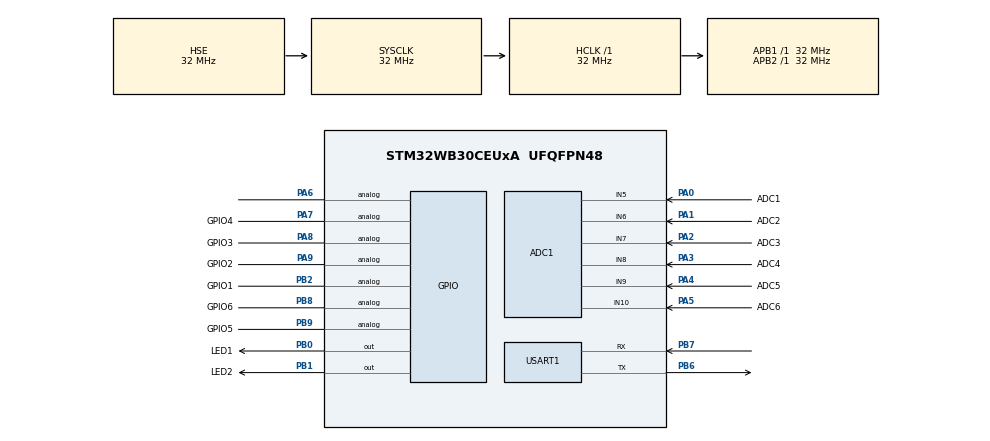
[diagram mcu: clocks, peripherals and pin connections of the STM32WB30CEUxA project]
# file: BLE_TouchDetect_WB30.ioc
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Mcu.Family=STM32WB
RCC.CortexFreq_Value=32000000
Dma.ADC1.1.MemDataAlignment=DMA_MDATAALIGN_HALFWORD
RF1.Signal=RF_RF1
Dma.USART1_TX.0.RequestNumber=1
Dma.USART1_TX.0.SignalID=NONE
Dma.ADC1.1.SyncEnable=DISABLE
ADC1.OffsetNumber-4\#ChannelRegularConversion=ADC_OFFSET_NONE
PA0.GPIO_Label=ADC1
VP_RTC_VS_RTC_Activate.Mode=RTC_Enabled
PB0.GPIO_Label=LED1
RCC.SYSCLKSource=RCC_SYSCLKSOURCE_HSE
ProjectManager.StackSize=0x400
Dma.USART1_TX.0.Priority=DMA_PRIORITY_LOW
Dma.USART1_TX.0.Direction=DMA_MEMORY_TO_PERIPH
Dma.USART1_TX.0.SyncPolarity=HAL_DMAMUX_SYNC_NO_EVENT
ADC1.Channel-5\#ChannelRegularConversion=ADC_CHANNEL_10
Dma.ADC1.1.Instance=DMA1_Channel2
Dma.ADC1.1.SyncPolarity=HAL_DMAMUX_SYNC_NO_EVENT
ADC1.Channel-3\#ChannelRegularConversion=ADC_CHANNEL_8
RCC.HCLKFreq_Value=32000000
STM32_WPAN.LOCAL_NAME=PWRON1
RCC.APB2TimFreq_Value=32000000
PB6.Signal=USART1_TX
ADC1.Channel-2\#ChannelRegularConversion=ADC_CHANNEL_7
Dma.ADC1.1.PeriphDataAlignment=DMA_PDATAALIGN_HALFWORD
PB6.Mode=Asynchronous
OSC_OUT.Mode=HSE-External-Oscillator
OSC_OUT.Signal=RCC_OSC_OUT
RCC.AHBFreq_Value=32000000
ADC1.Channel-0\#ChannelRegularConversion=ADC_CHANNEL_5
RCC.HSE_VALUE=32000000
NVIC.IPCC_C1_RX_IRQn=true\:0\:0\:false\:false\:true\:true\:true
PB2.Signal=GPIO_Analog
RCC.RTCClockSelection=RCC_RTCCLKSOURCE_LSE
ADC1.SamplingTime-4\#ChannelRegularConversion=ADC_SAMPLETIME_24CYCLES_5
ADC1.Rank-2\#ChannelRegularConversion=3
PC14-OSC32_IN.Mode=LSE-External-Oscillator
PA14.Mode=Serial_Wire
PB1.GPIO_Label=LED2
NVIC.TIM2_IRQn=true\:0\:0\:false\:false\:true\:true\:true
Dma.ADC1.1.Priority=DMA_PRIORITY_LOW
SH.ADCx_IN8.0=ADC1_IN8,IN8-Single-Ended
Dma.USART1_TX.0.SyncRequestNumber=1
PB7.Signal=USART1_RX
Dma.ADC1.1.Mode=DMA_CIRCULAR
PA8.Signal=GPIO_Analog
Dma.USART1_TX.0.PeriphDataAlignment=DMA_PDATAALIGN_BYTE
ADC1.SamplingTime-0\#ChannelRegularConversion=ADC_SAMPLETIME_24CYCLES_5
PA0.Signal=ADCx_IN5
STM32_WPAN.CFG_USE_SMPS=0
RCC.APB3Freq_Value=16000000
ADC1.OffsetNumber-5\#ChannelRegularConversion=ADC_OFFSET_NONE
NVIC.HSEM_IRQn=true\:0\:0\:false\:false\:true\:false\:true
Mcu.Package=UFQFPN48
PB9.Signal=GPIO_Analog
TIM2.Prescaler=3199
PB1.Signal=GPIO_Output
PA6.Signal=GPIO_Analog
Dma.ADC1.1.Direction=DMA_PERIPH_TO_MEMORY
PB6.GPIO_FM6=__NULL
PA2.GPIO_Label=ADC3
Dma.ADC1.1.MemInc=DMA_MINC_ENABLE
ADC1.OffsetNumber-1\#ChannelRegularConversion=ADC_OFFSET_NONE
Dma.USART1_TX.0.Instance=DMA1_Channel1
SH.ADCx_IN9.0=ADC1_IN9,IN9-Single-Ended
VP_TINY_LPM_VS_TINY_LPM.Mode=TINY_LPM_Enabled
VP_HSEM_VS_HSEM.Mode=HSEM_Activate
Dma.Request1=ADC1
RCC.APB1TimFreq_Value=32000000
Dma.USART1_TX.0.EventEnable=DISABLE
NVIC.USART1_IRQn=true\:0\:0\:false\:false\:true\:true\:true
Dma.Request0=USART1_TX
PA4.GPIO_Label=ADC5
RCC.MSIClockRange=RCC_MSIRANGE_10
RCC.HSI48_VALUE=48000000
ADC1.Rank-4\#ChannelRegularConversion=5
Dma.ADC1.1.SignalID=NONE
PA3.Signal=ADCx_IN8
PB7.GPIO_Speed=GPIO_SPEED_FREQ_VERY_HIGH
PB7.GPIO_PuPd=GPIO_PULLUP
Dma.USART1_TX.0.SyncSignalID=NONE
PC15-OSC32_OUT.Mode=LSE-External-Oscillator
ADC1.Rank-0\#ChannelRegularConversion=1
Dma.USART1_TX.0.MemInc=DMA_MINC_ENABLE
PB9.GPIO_Label=GPIO5
ADC1.Channel-4\#ChannelRegularConversion=ADC_CHANNEL_9
Dma.USART1_TX.0.PeriphInc=DMA_PINC_DISABLE
VP_STM32_WPAN_VS_BLE_HOST.Mode=STM32_WPAN_Enabled
SH.ADCx_IN6.0=ADC1_IN6,IN6-Single-Ended
Dma.ADC1.1.SyncSignalID=NONE
ADC1.OffsetNumber-0\#ChannelRegularConversion=ADC_OFFSET_NONE
PA9.GPIO_Label=GPIO2
Dma.ADC1.1.RequestNumber=1
PB6.GPIO_PuPd=GPIO_PULLUP
ADC1.OffsetNumber-3\#ChannelRegularConversion=ADC_OFFSET_NONE
NVIC.IPCC_C1_TX_IRQn=true\:0\:0\:false\:false\:true\:true\:true
Dma.USART1_TX.0.Polarity=HAL_DMAMUX_REQ_GEN_RISING
PC14-OSC32_IN.Signal=RCC_OSC32_IN
ADC1.SamplingTime-2\#ChannelRegularConversion=ADC_SAMPLETIME_24CYCLES_5
USART1.VirtualMode-Asynchronous=VM_ASYNC
PA13.Signal=SYS_JTMS-SWDIO
PB8.GPIO_Label=GPIO6
PA8.GPIO_Label=GPIO3
NVIC.DMA1_Channel2_IRQn=true\:0\:0\:false\:false\:true\:false\:true
ProjectManager.TargetToolchain=STM32CubeIDE
SH.ADCx_IN7.0=ADC1_IN7,IN7-Single-Ended
STM32_WPAN.LOCAL_NAME_FORMATTED=,'P','W','R','O','N','1'
Dma.USART1_TX.0.SyncEnable=DISABLE
PA9.Signal=GPIO_Analog
ADC1.Channel-1\#ChannelRegularConversion=ADC_CHANNEL_6
STM32_WPAN.CFG_ADV_BD_ADDRESS=0x7257acd87a6c
OSC_IN.Signal=RCC_OSC_IN
Dma.ADC1.1.Polarity=HAL_DMAMUX_REQ_GEN_RISING
PC15-OSC32_OUT.Signal=RCC_OSC32_OUT
PA1.Signal=ADCx_IN6
Dma.ADC1.1.SyncRequestNumber=1
PA5.Signal=ADCx_IN10
Dma.USART1_TX.0.Mode=DMA_NORMAL
board=custom
VP_SEQUENCER_VS_SEQUENCER.Mode=SEQUENCER_Enabled
RCC.VCOOutputFreq_Value=256000000
RCC.APB2Freq_Value=32000000
VP_TIM2_VS_ClockSourceINT.Mode=Internal
RCC.ADCFreq_Value=32000000
PA1.GPIO_Label=ADC2
Dma.ADC1.1.PeriphInc=DMA_PINC_DISABLE
ADC1.DMAContinuousRequests=ENABLE
TIM2.Period=999
ADC1.NbrOfConversion=6
PA13.Mode=Serial_Wire
ADC1.OffsetNumber-2\#ChannelRegularConversion=ADC_OFFSET_NONE
VP_IPCC_VS_IPCC.Mode=IPCC_Activate
Mcu.Name=STM32WB30CEUxA
PA2.Signal=ADCx_IN7
PA4.Signal=ADCx_IN9
ADC1.SamplingTime-1\#ChannelRegularConversion=ADC_SAMPLETIME_24CYCLES_5
RCC.SYSCLKFreq_VALUE=32000000
PA7.GPIO_Label=GPIO4
ADC1.master=1
PA5.GPIO_Label=ADC6
ADC1.Rank-3\#ChannelRegularConversion=4
ADC1.SamplingTime-3\#ChannelRegularConversion=ADC_SAMPLETIME_24CYCLES_5
OSC_IN.Mode=HSE-External-Oscillator
RF1.Mode=RF1_Activate
ADC1.Rank-1\#ChannelRegularConversion=2
PB7.Mode=Asynchronous
Dma.USART1_TX.0.MemDataAlignment=DMA_MDATAALIGN_BYTE
PA14.Signal=SYS_JTCK-SWCLK
SH.ADCx_IN10.0=ADC1_IN10,IN10-Single-Ended
PB2.GPIO_Label=GPIO1
ProjectManager.HeapSize=0x200
ADC1.SamplingTime-5\#ChannelRegularConversion=ADC_SAMPLETIME_24CYCLES_5
RCC.HSI_VALUE=16000000
SH.ADCx_IN5.0=ADC1_IN5,IN5-Single-Ended
NVIC.PriorityGroup=NVIC_PRIORITYGROUP_4
ADC1.NbrOfConversionFlag=1
PB8.Signal=GPIO_Analog
TIM2.AutoReloadPreload=TIM_AUTORELOAD_PRELOAD_ENABLE
NVIC.DMA1_Channel1_IRQn=true\:0\:0\:false\:false\:true\:false\:true
Dma.ADC1.1.EventEnable=DISABLE
PB6.GPIO_Speed=GPIO_SPEED_FREQ_VERY_HIGH
RCC.APB1Freq_Value=32000000
RCC.RFWKPClockSelection=RCC_RFWKPCLKSOURCE_LSE
PB0.Signal=GPIO_Output
ADC1.Rank-5\#ChannelRegularConversion=6
PA3.GPIO_Label=ADC4
PA7.Signal=GPIO_Analog

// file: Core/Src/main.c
/* USER CODE BEGIN Header */
/**
  ******************************************************************************
  * @file           : main.c
  * @brief          : Main program body
  ******************************************************************************
  * @attention
  *
  * <h2><center>&copy; Copyright (c) 2021 STMicroelectronics.
  * All rights reserved.</center></h2>
  *
  * This software component is licensed by ST under BSD 3-Clause license,
  * the "License"; You may not use this file except in compliance with the
  * License. You may obtain a copy of the License at:
  *                        opensource.org/licenses/BSD-3-Clause
  *
  ******************************************************************************
  */
/* USER CODE END Header */
#include "main.h"

/* USER CODE BEGIN Includes */
#include "stm32_lpm.h"
#include "stm32_seq.h"
#include "dbg_trace.h"
#include "hw_conf.h"
#include "otp.h"
#include "string.h"
#include "app_conf.h"
/* USER CODE END Includes */

ADC_HandleTypeDef hadc1;
DMA_HandleTypeDef hdma_adc1;

IPCC_HandleTypeDef hipcc;

RTC_HandleTypeDef hrtc;

TIM_HandleTypeDef htim2;

UART_HandleTypeDef huart1;
DMA_HandleTypeDef hdma_usart1_tx;

/* USER CODE BEGIN PV */
uint8_t BTdata[72] = {0}; // This is declared in main.h
uint8_t RunningState = 0;
uint8_t TimeReady = 0;
uint8_t Custom_Notification = 0; //Custom
uint16_t ADC_Buffer[6] = {0};
uint8_t ADC_Read_Complete = 0;
/* USER CODE END PV */

void SystemClock_Config(void);
static void MX_GPIO_Init(void);
static void MX_DMA_Init(void);
static void MX_IPCC_Init(void);
static void MX_RF_Init(void);
static void MX_RTC_Init(void);
static void MX_USART1_UART_Init(void);
static void MX_TIM2_Init(void);
static void MX_ADC1_Init(void);
/* USER CODE BEGIN PFP */
void PeriphClock_Config(void);
static void Reset_Device( void );
static void Reset_IPCC( void );
static void Reset_BackupDomain( void );
static void Init_Exti( void );
static void Config_HSE(void);
/* USER CODE END PFP */

int main(void)
{
  /* USER CODE BEGIN 1 */
  uint8_t i = 0;
  uint8_t UART_count = 0;
 // char UART_string[33] = {"\0"};
  char buffer[3];
  char char_buffer[4];
  char UART_String[98] = {0};
  char ADC_UART_String[33] = {0};
  UART_String[97] = 10; // line feed
  UART_String[96] = 13; // carriage return
  Custom_Notification = 0;
  uint8_t SequenceLoop = 0;
  uint8_t UART_Transmit_ADC_values = 0;
  uint8_t ADC_Read_Array_Complete = 0;
  uint16_t BatV = 0;
  GPIO_InitTypeDef GPIO_ChgMode = {0}; //This is used to change GPIO mode

  /**
   * The OPTVERR flag is wrongly set at power on
   * It shall be cleared before using any HAL_FLASH_xxx() api
   */
  __HAL_FLASH_CLEAR_FLAG(FLASH_FLAG_OPTVERR);

  /* USER CODE END 1 */

  /* MCU Configuration--------------------------------------------------------*/

  /* Reset of all peripherals, Initializes the Flash interface and the Systick. */
  HAL_Init();

  /* USER CODE BEGIN Init */
  Reset_Device();
  Config_HSE();

  /* USER CODE END Init */

  /* Configure the system clock */
  SystemClock_Config();

  /* IPCC initialisation */
   MX_IPCC_Init();

  /* USER CODE BEGIN SysInit */
  PeriphClock_Config();
  Init_Exti(); /**< Configure the system Power Mode */
  /* USER CODE END SysInit */

  /* Initialize all configured peripherals */
  MX_GPIO_Init();
  MX_DMA_Init();
  MX_RF_Init();
  MX_RTC_Init();
  MX_USART1_UART_Init();
  MX_TIM2_Init();
  MX_ADC1_Init();
  /* USER CODE BEGIN 2 */

  // Calibration for ADC
  HAL_ADCEx_Calibration_Start(&hadc1, ADC_SINGLE_ENDED);

  UART_Transmit_ADC_values = 0;
  /* USER CODE END 2 */

  /* Init code for STM32_WPAN */
  APPE_Init();
  /* Infinite loop */
  /* USER CODE BEGIN WHILE */

  HAL_TIM_Base_Start_IT(&htim2); //start timer2 with interrupt

  while (1)
  {

    /* USER CODE END WHILE */

    /* USER CODE BEGIN 3 */
	UTIL_SEQ_Run( UTIL_SEQ_DEFAULT );

	// RunningState = 1 means BLE is running
	// This if function is meant to let STM micro to send data to computer once data is compiled.
	if ((RunningState == 1) && (ADC_Read_Array_Complete == 1)) {

/*
		// Update data variable
		for (i=0; i<sizeof(BTdata); i++) {
			// update variable
			BTdata[i] += 1;

			// if data is more than 31, reset to 0
			if (BTdata[i] > 31) {
				BTdata[i] = 0;
			}

//				// Making a char array for transmitting via UART for checking
//				itoa(BTdata[i], buffer, 10);
//
//				if(BTdata[i] <10){
//					UART_String[i*3] = 48; //48 is ascii for "0"
//					UART_String[i*3+1] = buffer[0];
//					UART_String[i*3+2] = 44; //44 is ascii for ","
//				}
//				else {
//					UART_String[i*3] = buffer[0];
//					UART_String[i*3+1] = buffer[1];
//					UART_String[i*3+2] = 44;
//				}

		}
*/
		// Compile data into an array for sending via BLE

		RunningState = 0; // reset variable
		UTIL_SEQ_SetTask(1<<CFG_TASK_SW1_BUTTON_PUSHED_ID, CFG_SCH_PRIO_0);
		// Temporarily disable the UART transmit to reduce time for processing
		// HAL_UART_Transmit(&huart1, &UART_String, sizeof(UART_String), 100); // Send data via UART (working)
	}

	if (TimeReady == 1) {

		// reset variables
		SequenceLoop = 0;
		TimeReady = 0; // reset trigger

		// start GPIO1

		// Set GPIO from to Output Push Pull mode
		GPIO_ChgMode.Pin = GPIO1_Pin;
		GPIO_ChgMode.Mode = GPIO_MODE_OUTPUT_PP;
		GPIO_ChgMode.Pull = GPIO_NOPULL;
		GPIO_ChgMode.Speed = GPIO_SPEED_FREQ_LOW;
		HAL_GPIO_Init(GPIO1_GPIO_Port, &GPIO_ChgMode);
		HAL_GPIO_WritePin(GPIO1_GPIO_Port, GPIO1_Pin, GPIO_PIN_SET);

//		HAL_GPIO_WritePin(GPIO1_GPIO_Port, GPIO1_Pin, GPIO_PIN_SET); // GPIO1
//		HAL_GPIO_WritePin(GPIO2_GPIO_Port, GPIO2_Pin, GPIO_PIN_RESET); // GPIO2
//		HAL_GPIO_WritePin(GPIO3_GPIO_Port, GPIO3_Pin, GPIO_PIN_RESET); // GPIO3
//		HAL_GPIO_WritePin(GPIO4_GPIO_Port, GPIO4_Pin, GPIO_PIN_RESET); // GPIO4
//		HAL_GPIO_WritePin(GPIO5_GPIO_Port, GPIO5_Pin, GPIO_PIN_RESET); // GPIO5
//		HAL_GPIO_WritePin(GPIO6_GPIO_Port, GPIO6_Pin, GPIO_PIN_RESET); // GPIO6

		// start adc conversion
		HAL_ADC_Start_DMA(&hadc1, &ADC_Buffer, 6); //This needs to be changed later, ADC reads 7 values

	}

	// ADC_Read_Complete only goes 1 when ADC conversion is finished
	if (ADC_Read_Complete == 1) {

		// Save data to BT array
		for (i=0; i<6; i++) {
			BTdata[SequenceLoop*12 + i*2] = ADC_Buffer[i]>>8; //high byte
			BTdata[SequenceLoop*12 + i*2 + 1] = ADC_Buffer[i]; //low byte
		}

		// UART Debug transmission, set UART_Transmit_ADC_values to 0 to quicken operation
		if (UART_Transmit_ADC_values == 1) {
			itoa(SequenceLoop, buffer, 10);
			buffer[1] = '=';
			buffer[2] = '>';
			HAL_UART_Transmit(&huart1, buffer, 3, 10); // Send data via UART (working)

			UART_count = 0;

			// Reading the ADC buffer results
			for (i=0; i<6; i++) {
				// Making a char array for transmitting via UART for checking
				itoa(ADC_Buffer[i], char_buffer, 10);

				if (ADC_Buffer[i] < 10) {
					ADC_UART_String[UART_count+0] = '0';
					ADC_UART_String[UART_count+1] = '0';
					ADC_UART_String[UART_count+2] = '0';
					ADC_UART_String[UART_count+3] = char_buffer[0];
					ADC_UART_String[UART_count+4] = 44; //44 is ascii for ","
					UART_count += 5;
				}
				else if (ADC_Buffer[i] < 100) {
					ADC_UART_String[UART_count+0] = '0';
					ADC_UART_String[UART_count+1] = '0';
					ADC_UART_String[UART_count+2] = char_buffer[0];
					ADC_UART_String[UART_count+3] = char_buffer[1];
					ADC_UART_String[UART_count+4] = 44; //44 is ascii for ","
					UART_count += 5;
				}
				else if (ADC_Buffer[i] < 1000) {
					ADC_UART_String[UART_count+0] = '0';
					ADC_UART_String[UART_count+1] = char_buffer[0];
					ADC_UART_String[UART_count+2] = char_buffer[1];
					ADC_UART_String[UART_count+3] = char_buffer[2];
					ADC_UART_String[UART_count+4] = 44; //44 is ascii for ","
				}

				else {
					ADC_UART_String[UART_count+0] = char_buffer[0];
					ADC_UART_String[UART_count+1] = char_buffer[1];
					ADC_UART_String[UART_count+2] = char_buffer[2];
					ADC_UART_String[UART_count+3] = char_buffer[3];
					ADC_UART_String[UART_count+4] = 44; //44 is ascii for ","
					UART_count += 5;
				}
			}

			ADC_UART_String[UART_count] = 'A';
			ADC_UART_String[UART_count+1] = '\n';
			ADC_UART_String[UART_count+2] = '\r';

			HAL_UART_Transmit(&huart1, &ADC_UART_String, UART_count+3, 50); // Send data via UART (working)
		}

		ADC_Read_Complete = 0;
		SequenceLoop++;

		// Set the appropriate GPIO pins
		if (SequenceLoop == 1) {
			// Reset GPIO output to 0V/GND
			HAL_GPIO_WritePin(GPIO1_GPIO_Port, GPIO1_Pin, GPIO_PIN_RESET);

			// Set GPIO back to Analog
			GPIO_ChgMode.Pin = GPIO1_Pin;
			GPIO_ChgMode.Mode = GPIO_MODE_ANALOG;
			GPIO_ChgMode.Pull = GPIO_NOPULL;
			HAL_GPIO_Init(GPIO1_GPIO_Port, &GPIO_ChgMode);

			// Set GPIO to Output Push Pull
			GPIO_ChgMode.Pin = GPIO2_Pin;
			GPIO_ChgMode.Mode = GPIO_MODE_OUTPUT_PP;
			GPIO_ChgMode.Pull = GPIO_NOPULL;
			GPIO_ChgMode.Speed = GPIO_SPEED_FREQ_LOW;
			HAL_GPIO_Init(GPIO2_GPIO_Port, &GPIO_ChgMode);
			HAL_GPIO_WritePin(GPIO2_GPIO_Port, GPIO2_Pin, GPIO_PIN_SET);

//			HAL_GPIO_WritePin(GPIO1_GPIO_Port, GPIO1_Pin, GPIO_PIN_RESET); // GPIO1
//			HAL_GPIO_WritePin(GPIO2_GPIO_Port, GPIO2_Pin, GPIO_PIN_SET);   // GPIO2
//			HAL_GPIO_WritePin(GPIO3_GPIO_Port, GPIO3_Pin, GPIO_PIN_RESET); // GPIO3
//			HAL_GPIO_WritePin(GPIO4_GPIO_Port, GPIO4_Pin, GPIO_PIN_RESET); // GPIO4
//			HAL_GPIO_WritePin(GPIO5_GPIO_Port, GPIO5_Pin, GPIO_PIN_RESET); // GPIO5
//			HAL_GPIO_WritePin(GPIO6_GPIO_Port, GPIO6_Pin, GPIO_PIN_RESET); // GPIO6
		}
		else if (SequenceLoop == 2) {

			// Reset GPIO output to 0V/GND
			HAL_GPIO_WritePin(GPIO2_GPIO_Port, GPIO2_Pin, GPIO_PIN_RESET);

			// Set GPIO back to Analog
			GPIO_ChgMode.Pin = GPIO2_Pin;
			GPIO_ChgMode.Mode = GPIO_MODE_ANALOG;
			GPIO_ChgMode.Pull = GPIO_NOPULL;
			HAL_GPIO_Init(GPIO2_GPIO_Port, &GPIO_ChgMode);

			// Set GPIO to Output Push Pull
			GPIO_ChgMode.Pin = GPIO3_Pin;
			GPIO_ChgMode.Mode = GPIO_MODE_OUTPUT_PP;
			GPIO_ChgMode.Pull = GPIO_NOPULL;
			GPIO_ChgMode.Speed = GPIO_SPEED_FREQ_LOW;
			HAL_GPIO_Init(GPIO3_GPIO_Port, &GPIO_ChgMode);
			HAL_GPIO_WritePin(GPIO3_GPIO_Port, GPIO3_Pin, GPIO_PIN_SET);

//			HAL_GPIO_WritePin(GPIO1_GPIO_Port, GPIO1_Pin, GPIO_PIN_RESET); // GPIO1
//			HAL_GPIO_WritePin(GPIO2_GPIO_Port, GPIO2_Pin, GPIO_PIN_RESET); // GPIO2
//			HAL_GPIO_WritePin(GPIO3_GPIO_Port, GPIO3_Pin, GPIO_PIN_SET);   // GPIO3
//			HAL_GPIO_WritePin(GPIO4_GPIO_Port, GPIO4_Pin, GPIO_PIN_RESET); // GPIO4
//			HAL_GPIO_WritePin(GPIO5_GPIO_Port, GPIO5_Pin, GPIO_PIN_RESET); // GPIO5
//			HAL_GPIO_WritePin(GPIO6_GPIO_Port, GPIO6_Pin, GPIO_PIN_RESET); // GPIO6
		}
		else if (SequenceLoop == 3) {
			// Reset GPIO output to 0V/GND
			HAL_GPIO_WritePin(GPIO3_GPIO_Port, GPIO3_Pin, GPIO_PIN_RESET);

			// Set GPIO back to Analog
			GPIO_ChgMode.Pin = GPIO3_Pin;
			GPIO_ChgMode.Mode = GPIO_MODE_ANALOG;
			GPIO_ChgMode.Pull = GPIO_NOPULL;
			HAL_GPIO_Init(GPIO3_GPIO_Port, &GPIO_ChgMode);

			// Set GPIO to Output Push Pull
			GPIO_ChgMode.Pin = GPIO4_Pin;
			GPIO_ChgMode.Mode = GPIO_MODE_OUTPUT_PP;
			GPIO_ChgMode.Pull = GPIO_NOPULL;
			GPIO_ChgMode.Speed = GPIO_SPEED_FREQ_LOW;
			HAL_GPIO_Init(GPIO4_GPIO_Port, &GPIO_ChgMode);
			HAL_GPIO_WritePin(GPIO4_GPIO_Port, GPIO4_Pin, GPIO_PIN_SET);

//			HAL_GPIO_WritePin(GPIO1_GPIO_Port, GPIO1_Pin, GPIO_PIN_RESET); // GPIO1
//			HAL_GPIO_WritePin(GPIO2_GPIO_Port, GPIO2_Pin, GPIO_PIN_RESET); // GPIO2
//			HAL_GPIO_WritePin(GPIO3_GPIO_Port, GPIO3_Pin, GPIO_PIN_RESET); // GPIO3
//			HAL_GPIO_WritePin(GPIO4_GPIO_Port, GPIO4_Pin, GPIO_PIN_SET); // GPIO4
//			HAL_GPIO_WritePin(GPIO5_GPIO_Port, GPIO5_Pin, GPIO_PIN_RESET); // GPIO5
//			HAL_GPIO_WritePin(GPIO6_GPIO_Port, GPIO6_Pin, GPIO_PIN_RESET); // GPIO6
		}
		else if (SequenceLoop == 4) {
			// Reset GPIO output to 0V/GND
			HAL_GPIO_WritePin(GPIO4_GPIO_Port, GPIO4_Pin, GPIO_PIN_RESET);

			// Set GPIO back to Analog
			GPIO_ChgMode.Pin = GPIO4_Pin;
			GPIO_ChgMode.Mode = GPIO_MODE_ANALOG;
			GPIO_ChgMode.Pull = GPIO_NOPULL;
			HAL_GPIO_Init(GPIO4_GPIO_Port, &GPIO_ChgMode);

			// Set GPIO to Output Push Pull
			GPIO_ChgMode.Pin = GPIO5_Pin;
			GPIO_ChgMode.Mode = GPIO_MODE_OUTPUT_PP;
			GPIO_ChgMode.Pull = GPIO_NOPULL;
			GPIO_ChgMode.Speed = GPIO_SPEED_FREQ_LOW;
			HAL_GPIO_Init(GPIO5_GPIO_Port, &GPIO_ChgMode);
			HAL_GPIO_WritePin(GPIO5_GPIO_Port, GPIO5_Pin, GPIO_PIN_SET);

//			HAL_GPIO_WritePin(GPIO1_GPIO_Port, GPIO1_Pin, GPIO_PIN_RESET); // GPIO1
//			HAL_GPIO_WritePin(GPIO2_GPIO_Port, GPIO2_Pin, GPIO_PIN_RESET); // GPIO2
//			HAL_GPIO_WritePin(GPIO3_GPIO_Port, GPIO3_Pin, GPIO_PIN_RESET); // GPIO3
//			HAL_GPIO_WritePin(GPIO4_GPIO_Port, GPIO4_Pin, GPIO_PIN_RESET); // GPIO4
//			HAL_GPIO_WritePin(GPIO5_GPIO_Port, GPIO5_Pin, GPIO_PIN_SET); // GPIO5
//			HAL_GPIO_WritePin(GPIO6_GPIO_Port, GPIO6_Pin, GPIO_PIN_RESET); // GPIO6
		}
		else if (SequenceLoop == 5) {
			// Reset GPIO output to 0V/GND
			HAL_GPIO_WritePin(GPIO5_GPIO_Port, GPIO5_Pin, GPIO_PIN_RESET);

			// Set GPIO back to Analog
			GPIO_ChgMode.Pin = GPIO5_Pin;
			GPIO_ChgMode.Mode = GPIO_MODE_ANALOG;
			GPIO_ChgMode.Pull = GPIO_NOPULL;
			HAL_GPIO_Init(GPIO5_GPIO_Port, &GPIO_ChgMode);

			// Set GPIO to Output Push Pull
			GPIO_ChgMode.Pin = GPIO6_Pin;
			GPIO_ChgMode.Mode = GPIO_MODE_OUTPUT_PP;
			GPIO_ChgMode.Pull = GPIO_NOPULL;
			GPIO_ChgMode.Speed = GPIO_SPEED_FREQ_LOW;
			HAL_GPIO_Init(GPIO6_GPIO_Port, &GPIO_ChgMode);
			HAL_GPIO_WritePin(GPIO6_GPIO_Port, GPIO6_Pin, GPIO_PIN_SET);

//			HAL_GPIO_WritePin(GPIO1_GPIO_Port, GPIO1_Pin, GPIO_PIN_RESET); // GPIO1
//			HAL_GPIO_WritePin(GPIO2_GPIO_Port, GPIO2_Pin, GPIO_PIN_RESET); // GPIO2
//			HAL_GPIO_WritePin(GPIO3_GPIO_Port, GPIO3_Pin, GPIO_PIN_RESET); // GPIO3
//			HAL_GPIO_WritePin(GPIO4_GPIO_Port, GPIO4_Pin, GPIO_PIN_RESET); // GPIO4
//			HAL_GPIO_WritePin(GPIO5_GPIO_Port, GPIO5_Pin, GPIO_PIN_RESET); // GPIO5
//			HAL_GPIO_WritePin(GPIO6_GPIO_Port, GPIO6_Pin, GPIO_PIN_SET); // GPIO6
		}

		// once all ADC reading is done
		if (SequenceLoop >= 6) {

			if (UART_Transmit_ADC_values == 1) {
				HAL_UART_Transmit(&huart1, '\n\r', 2, 20); // Send data via UART
			}

			// reset all GPIO
			// Reset GPIO output to 0V/GND
			HAL_GPIO_WritePin(GPIO6_GPIO_Port, GPIO6_Pin, GPIO_PIN_RESET);

			// Set GPIO back to Analog
			GPIO_ChgMode.Pin = GPIO6_Pin;
			GPIO_ChgMode.Mode = GPIO_MODE_ANALOG;
			GPIO_ChgMode.Pull = GPIO_NOPULL;
			HAL_GPIO_Init(GPIO6_GPIO_Port, &GPIO_ChgMode);

//			HAL_GPIO_WritePin(GPIO1_GPIO_Port, GPIO1_Pin, GPIO_PIN_RESET); // GPIO1
//			HAL_GPIO_WritePin(GPIO2_GPIO_Port, GPIO2_Pin, GPIO_PIN_RESET); // GPIO2
//			HAL_GPIO_WritePin(GPIO3_GPIO_Port, GPIO3_Pin, GPIO_PIN_RESET); // GPIO3
//			HAL_GPIO_WritePin(GPIO4_GPIO_Port, GPIO4_Pin, GPIO_PIN_RESET); // GPIO4
//			HAL_GPIO_WritePin(GPIO5_GPIO_Port, GPIO5_Pin, GPIO_PIN_RESET); // GPIO5
//			HAL_GPIO_WritePin(GPIO6_GPIO_Port, GPIO6_Pin, GPIO_PIN_RESET); // GPIO6

			ADC_Read_Array_Complete = 1;
		}
		else {
			HAL_ADC_Start_DMA(&hadc1, &ADC_Buffer, 6); // Start conversion
		}

	}
  }
  /* USER CODE END 3 */
}

void SystemClock_Config(void)
{
  RCC_OscInitTypeDef RCC_OscInitStruct = {0};
  RCC_ClkInitTypeDef RCC_ClkInitStruct = {0};
  RCC_PeriphCLKInitTypeDef PeriphClkInitStruct = {0};

  /** Configure LSE Drive Capability
  */
  HAL_PWR_EnableBkUpAccess();
  __HAL_RCC_LSEDRIVE_CONFIG(RCC_LSEDRIVE_LOW);
  /** Initializes the RCC Oscillators according to the specified parameters
  * in the RCC_OscInitTypeDef structure.
  */
  RCC_OscInitStruct.OscillatorType = RCC_OSCILLATORTYPE_HSI|RCC_OSCILLATORTYPE_HSE
                              |RCC_OSCILLATORTYPE_LSE;
  RCC_OscInitStruct.HSEState = RCC_HSE_ON;
  RCC_OscInitStruct.LSEState = RCC_LSE_ON;
  RCC_OscInitStruct.HSIState = RCC_HSI_ON;
  RCC_OscInitStruct.HSICalibrationValue = RCC_HSICALIBRATION_DEFAULT;
  RCC_OscInitStruct.PLL.PLLState = RCC_PLL_NONE;
  if (HAL_RCC_OscConfig(&RCC_OscInitStruct) != HAL_OK)
  {
    Error_Handler();
  }
  /** Configure the SYSCLKSource, HCLK, PCLK1 and PCLK2 clocks dividers
  */
  RCC_ClkInitStruct.ClockType = RCC_CLOCKTYPE_HCLK4|RCC_CLOCKTYPE_HCLK2
                              |RCC_CLOCKTYPE_HCLK|RCC_CLOCKTYPE_SYSCLK
                              |RCC_CLOCKTYPE_PCLK1|RCC_CLOCKTYPE_PCLK2;
  RCC_ClkInitStruct.SYSCLKSource = RCC_SYSCLKSOURCE_HSE;
  RCC_ClkInitStruct.AHBCLKDivider = RCC_SYSCLK_DIV1;
  RCC_ClkInitStruct.APB1CLKDivider = RCC_HCLK_DIV1;
  RCC_ClkInitStruct.APB2CLKDivider = RCC_HCLK_DIV1;
  RCC_ClkInitStruct.AHBCLK2Divider = RCC_SYSCLK_DIV1;
  RCC_ClkInitStruct.AHBCLK4Divider = RCC_SYSCLK_DIV1;

  if (HAL_RCC_ClockConfig(&RCC_ClkInitStruct, FLASH_LATENCY_1) != HAL_OK)
  {
    Error_Handler();
  }
  /** Initializes the peripherals clocks
  */
  PeriphClkInitStruct.PeriphClockSelection = RCC_PERIPHCLK_RFWAKEUP|RCC_PERIPHCLK_RTC
                              |RCC_PERIPHCLK_USART1|RCC_PERIPHCLK_ADC;
  PeriphClkInitStruct.Usart1ClockSelection = RCC_USART1CLKSOURCE_PCLK2;
  PeriphClkInitStruct.AdcClockSelection = RCC_ADCCLKSOURCE_SYSCLK;
  PeriphClkInitStruct.RTCClockSelection = RCC_RTCCLKSOURCE_LSE;
  PeriphClkInitStruct.RFWakeUpClockSelection = RCC_RFWKPCLKSOURCE_LSE;
  if (HAL_RCCEx_PeriphCLKConfig(&PeriphClkInitStruct) != HAL_OK)
  {
    Error_Handler();
  }
}

static void MX_ADC1_Init(void)
{

  ADC_ChannelConfTypeDef sConfig = {0};

  /** Common config
  */
  hadc1.Instance = ADC1;
  hadc1.Init.ClockPrescaler = ADC_CLOCK_ASYNC_DIV1;
  hadc1.Init.Resolution = ADC_RESOLUTION_12B;
  hadc1.Init.DataAlign = ADC_DATAALIGN_RIGHT;
  hadc1.Init.ScanConvMode = ADC_SCAN_ENABLE;
  hadc1.Init.EOCSelection = ADC_EOC_SINGLE_CONV;
  hadc1.Init.LowPowerAutoWait = DISABLE;
  hadc1.Init.ContinuousConvMode = DISABLE;
  hadc1.Init.NbrOfConversion = 6;
  hadc1.Init.DiscontinuousConvMode = DISABLE;
  hadc1.Init.ExternalTrigConv = ADC_SOFTWARE_START;
  hadc1.Init.ExternalTrigConvEdge = ADC_EXTERNALTRIGCONVEDGE_NONE;
  hadc1.Init.DMAContinuousRequests = ENABLE;
  hadc1.Init.Overrun = ADC_OVR_DATA_PRESERVED;
  hadc1.Init.OversamplingMode = DISABLE;
  if (HAL_ADC_Init(&hadc1) != HAL_OK)
  {
    Error_Handler();
  }
  /** Configure Regular Channel
  */
  sConfig.Channel = ADC_CHANNEL_5;
  sConfig.Rank = ADC_REGULAR_RANK_1;
  sConfig.SamplingTime = ADC_SAMPLETIME_24CYCLES_5;
  sConfig.SingleDiff = ADC_SINGLE_ENDED;
  sConfig.OffsetNumber = ADC_OFFSET_NONE;
  sConfig.Offset = 0;
  if (HAL_ADC_ConfigChannel(&hadc1, &sConfig) != HAL_OK)
  {
    Error_Handler();
  }
  /** Configure Regular Channel
  */
  sConfig.Channel = ADC_CHANNEL_6;
  sConfig.Rank = ADC_REGULAR_RANK_2;
  if (HAL_ADC_ConfigChannel(&hadc1, &sConfig) != HAL_OK)
  {
    Error_Handler();
  }
  /** Configure Regular Channel
  */
  sConfig.Channel = ADC_CHANNEL_7;
  sConfig.Rank = ADC_REGULAR_RANK_3;
  if (HAL_ADC_ConfigChannel(&hadc1, &sConfig) != HAL_OK)
  {
    Error_Handler();
  }
  /** Configure Regular Channel
  */
  sConfig.Channel = ADC_CHANNEL_8;
  sConfig.Rank = ADC_REGULAR_RANK_4;
  if (HAL_ADC_ConfigChannel(&hadc1, &sConfig) != HAL_OK)
  {
    Error_Handler();
  }
  /** Configure Regular Channel
  */
  sConfig.Channel = ADC_CHANNEL_9;
  sConfig.Rank = ADC_REGULAR_RANK_5;
  if (HAL_ADC_ConfigChannel(&hadc1, &sConfig) != HAL_OK)
  {
    Error_Handler();
  }
  /** Configure Regular Channel
  */
  sConfig.Channel = ADC_CHANNEL_10;
  sConfig.Rank = ADC_REGULAR_RANK_6;
  if (HAL_ADC_ConfigChannel(&hadc1, &sConfig) != HAL_OK)
  {
    Error_Handler();
  }

}

static void MX_IPCC_Init(void)
{

  hipcc.Instance = IPCC;
  if (HAL_IPCC_Init(&hipcc) != HAL_OK)
  {
    Error_Handler();
  }

}

static void MX_RF_Init(void)
{

}

static void MX_RTC_Init(void)
{

  /** Initialize RTC Only
  */
  hrtc.Instance = RTC;
  hrtc.Init.HourFormat = RTC_HOURFORMAT_24;
  hrtc.Init.AsynchPrediv = CFG_RTC_ASYNCH_PRESCALER;
  hrtc.Init.SynchPrediv = CFG_RTC_SYNCH_PRESCALER;
  hrtc.Init.OutPut = RTC_OUTPUT_DISABLE;
  hrtc.Init.OutPutPolarity = RTC_OUTPUT_POLARITY_HIGH;
  hrtc.Init.OutPutType = RTC_OUTPUT_TYPE_OPENDRAIN;
  hrtc.Init.OutPutRemap = RTC_OUTPUT_REMAP_NONE;
  if (HAL_RTC_Init(&hrtc) != HAL_OK)
  {
    Error_Handler();
  }

}

static void MX_TIM2_Init(void)
{

  TIM_ClockConfigTypeDef sClockSourceConfig = {0};
  TIM_MasterConfigTypeDef sMasterConfig = {0};

  htim2.Instance = TIM2;
  htim2.Init.Prescaler = 3199;
  htim2.Init.CounterMode = TIM_COUNTERMODE_UP;
  htim2.Init.Period = 999;
  htim2.Init.ClockDivision = TIM_CLOCKDIVISION_DIV1;
  htim2.Init.AutoReloadPreload = TIM_AUTORELOAD_PRELOAD_ENABLE;
  if (HAL_TIM_Base_Init(&htim2) != HAL_OK)
  {
    Error_Handler();
  }
  sClockSourceConfig.ClockSource = TIM_CLOCKSOURCE_INTERNAL;
  if (HAL_TIM_ConfigClockSource(&htim2, &sClockSourceConfig) != HAL_OK)
  {
    Error_Handler();
  }
  sMasterConfig.MasterOutputTrigger = TIM_TRGO_RESET;
  sMasterConfig.MasterSlaveMode = TIM_MASTERSLAVEMODE_DISABLE;
  if (HAL_TIMEx_MasterConfigSynchronization(&htim2, &sMasterConfig) != HAL_OK)
  {
    Error_Handler();
  }

}

static void MX_USART1_UART_Init(void)
{

  huart1.Instance = USART1;
  huart1.Init.BaudRate = 115200;
  huart1.Init.WordLength = UART_WORDLENGTH_8B;
  huart1.Init.StopBits = UART_STOPBITS_1;
  huart1.Init.Parity = UART_PARITY_NONE;
  huart1.Init.Mode = UART_MODE_TX_RX;
  huart1.Init.HwFlowCtl = UART_HWCONTROL_NONE;
  huart1.Init.OverSampling = UART_OVERSAMPLING_16;
  huart1.Init.OneBitSampling = UART_ONE_BIT_SAMPLE_DISABLE;
  huart1.Init.ClockPrescaler = UART_PRESCALER_DIV1;
  huart1.AdvancedInit.AdvFeatureInit = UART_ADVFEATURE_NO_INIT;
  if (HAL_UART_Init(&huart1) != HAL_OK)
  {
    Error_Handler();
  }
  if (HAL_UARTEx_SetTxFifoThreshold(&huart1, UART_TXFIFO_THRESHOLD_1_8) != HAL_OK)
  {
    Error_Handler();
  }
  if (HAL_UARTEx_SetRxFifoThreshold(&huart1, UART_RXFIFO_THRESHOLD_1_8) != HAL_OK)
  {
    Error_Handler();
  }
  if (HAL_UARTEx_DisableFifoMode(&huart1) != HAL_OK)
  {
    Error_Handler();
  }

}

static void MX_DMA_Init(void)
{

  /* DMA controller clock enable */
  __HAL_RCC_DMAMUX1_CLK_ENABLE();
  __HAL_RCC_DMA1_CLK_ENABLE();

  /* DMA interrupt init */
  /* DMA1_Channel1_IRQn interrupt configuration */
  HAL_NVIC_SetPriority(DMA1_Channel1_IRQn, 0, 0);
  HAL_NVIC_EnableIRQ(DMA1_Channel1_IRQn);
  /* DMA1_Channel2_IRQn interrupt configuration */
  HAL_NVIC_SetPriority(DMA1_Channel2_IRQn, 0, 0);
  HAL_NVIC_EnableIRQ(DMA1_Channel2_IRQn);

}

static void MX_GPIO_Init(void)
{
  GPIO_InitTypeDef GPIO_InitStruct = {0};

  /* GPIO Ports Clock Enable */
  __HAL_RCC_GPIOC_CLK_ENABLE();
  __HAL_RCC_GPIOB_CLK_ENABLE();
  __HAL_RCC_GPIOA_CLK_ENABLE();

  /*Configure GPIO pin Output Level */
  HAL_GPIO_WritePin(GPIOB, LED1_Pin|LED2_Pin, GPIO_PIN_RESET);

  /*Configure GPIO pins : GPIO6_Pin GPIO5_Pin GPIO1_Pin */
  GPIO_InitStruct.Pin = GPIO6_Pin|GPIO5_Pin|GPIO1_Pin;
  GPIO_InitStruct.Mode = GPIO_MODE_ANALOG;
  GPIO_InitStruct.Pull = GPIO_NOPULL;
  HAL_GPIO_Init(GPIOB, &GPIO_InitStruct);

  /*Configure GPIO pins : PA6 GPIO4_Pin GPIO3_Pin GPIO2_Pin */
  GPIO_InitStruct.Pin = GPIO_PIN_6|GPIO4_Pin|GPIO3_Pin|GPIO2_Pin;
  GPIO_InitStruct.Mode = GPIO_MODE_ANALOG;
  GPIO_InitStruct.Pull = GPIO_NOPULL;
  HAL_GPIO_Init(GPIOA, &GPIO_InitStruct);

  /*Configure GPIO pins : LED1_Pin LED2_Pin */
  GPIO_InitStruct.Pin = LED1_Pin|LED2_Pin;
  GPIO_InitStruct.Mode = GPIO_MODE_OUTPUT_PP;
  GPIO_InitStruct.Pull = GPIO_NOPULL;
  GPIO_InitStruct.Speed = GPIO_SPEED_FREQ_LOW;
  HAL_GPIO_Init(GPIOB, &GPIO_InitStruct);

}

/* USER CODE BEGIN 4 */

void PeriphClock_Config(void)
{
  #if (CFG_USB_INTERFACE_ENABLE != 0)
	RCC_PeriphCLKInitTypeDef PeriphClkInitStruct = { 0 };
	RCC_CRSInitTypeDef RCC_CRSInitStruct = { 0 };

	/**
   * This prevents the CPU2 to disable the HSI48 oscillator when
   * it does not use anymore the RNG IP
   */
  LL_HSEM_1StepLock( HSEM, 5 );

  LL_RCC_HSI48_Enable();

	while(!LL_RCC_HSI48_IsReady());

	/* Select HSI48 as USB clock source */
	PeriphClkInitStruct.PeriphClockSelection = RCC_PERIPHCLK_USB;
	PeriphClkInitStruct.UsbClockSelection = RCC_USBCLKSOURCE_HSI48;
	HAL_RCCEx_PeriphCLKConfig(&PeriphClkInitStruct);

	/*Configure the clock recovery system (CRS)**********************************/

	/* Enable CRS Clock */
	__HAL_RCC_CRS_CLK_ENABLE();

	/* Default Synchro Signal division factor (not divided) */
	RCC_CRSInitStruct.Prescaler = RCC_CRS_SYNC_DIV1;

	/* Set the SYNCSRC[1:0] bits according to CRS_Source value */
	RCC_CRSInitStruct.Source = RCC_CRS_SYNC_SOURCE_USB;

	/* HSI48 is synchronized with USB SOF at 1KHz rate */
	RCC_CRSInitStruct.ReloadValue = RCC_CRS_RELOADVALUE_DEFAULT;
	RCC_CRSInitStruct.ErrorLimitValue = RCC_CRS_ERRORLIMIT_DEFAULT;

	RCC_CRSInitStruct.Polarity = RCC_CRS_SYNC_POLARITY_RISING;

	/* Set the TRIM[5:0] to the default value*/
	RCC_CRSInitStruct.HSI48CalibrationValue = RCC_CRS_HSI48CALIBRATION_DEFAULT;

	/* Start automatic synchronization */
	HAL_RCCEx_CRSConfig(&RCC_CRSInitStruct);
#endif

	return;
}
/*************************************************************
 *
 * LOCAL FUNCTIONS
 *
 *************************************************************/

static void Config_HSE(void)
{
    OTP_ID0_t * p_otp;

  /**
   * Read HSE_Tuning from OTP
   */
  p_otp = (OTP_ID0_t *) OTP_Read(0);
  if (p_otp)
  {
    LL_RCC_HSE_SetCapacitorTuning(p_otp->hse_tuning);
  }

  return;
}

static void Reset_Device( void )
{
#if ( CFG_HW_RESET_BY_FW == 1 )
	Reset_BackupDomain();

	Reset_IPCC();
#endif

	return;
}

static void Reset_IPCC( void )
{
	LL_AHB3_GRP1_EnableClock(LL_AHB3_GRP1_PERIPH_IPCC);

	LL_C1_IPCC_ClearFlag_CHx(
			IPCC,
			LL_IPCC_CHANNEL_1 | LL_IPCC_CHANNEL_2 | LL_IPCC_CHANNEL_3 | LL_IPCC_CHANNEL_4
			| LL_IPCC_CHANNEL_5 | LL_IPCC_CHANNEL_6);

	LL_C2_IPCC_ClearFlag_CHx(
			IPCC,
			LL_IPCC_CHANNEL_1 | LL_IPCC_CHANNEL_2 | LL_IPCC_CHANNEL_3 | LL_IPCC_CHANNEL_4
			| LL_IPCC_CHANNEL_5 | LL_IPCC_CHANNEL_6);

	LL_C1_IPCC_DisableTransmitChannel(
			IPCC,
			LL_IPCC_CHANNEL_1 | LL_IPCC_CHANNEL_2 | LL_IPCC_CHANNEL_3 | LL_IPCC_CHANNEL_4
			| LL_IPCC_CHANNEL_5 | LL_IPCC_CHANNEL_6);

	LL_C2_IPCC_DisableTransmitChannel(
			IPCC,
			LL_IPCC_CHANNEL_1 | LL_IPCC_CHANNEL_2 | LL_IPCC_CHANNEL_3 | LL_IPCC_CHANNEL_4
			| LL_IPCC_CHANNEL_5 | LL_IPCC_CHANNEL_6);

	LL_C1_IPCC_DisableReceiveChannel(
			IPCC,
			LL_IPCC_CHANNEL_1 | LL_IPCC_CHANNEL_2 | LL_IPCC_CHANNEL_3 | LL_IPCC_CHANNEL_4
			| LL_IPCC_CHANNEL_5 | LL_IPCC_CHANNEL_6);

	LL_C2_IPCC_DisableReceiveChannel(
			IPCC,
			LL_IPCC_CHANNEL_1 | LL_IPCC_CHANNEL_2 | LL_IPCC_CHANNEL_3 | LL_IPCC_CHANNEL_4
			| LL_IPCC_CHANNEL_5 | LL_IPCC_CHANNEL_6);

	return;
}

static void Reset_BackupDomain( void )
{
	if ((LL_RCC_IsActiveFlag_PINRST() != FALSE) && (LL_RCC_IsActiveFlag_SFTRST() == FALSE))
	{
		HAL_PWR_EnableBkUpAccess(); /**< Enable access to the RTC registers */

		/**
		 *  Write twice the value to flush the APB-AHB bridge
		 *  This bit shall be written in the register before writing the next one
		 */
		HAL_PWR_EnableBkUpAccess();

		__HAL_RCC_BACKUPRESET_FORCE();
		__HAL_RCC_BACKUPRESET_RELEASE();
	}

	return;
}

static void Init_Exti( void )
{
  /**< Disable all wakeup interrupt on CPU1  except IPCC(36), HSEM(38) */
  LL_EXTI_DisableIT_0_31(~0);
  LL_EXTI_DisableIT_32_63( (~0) & (~(LL_EXTI_LINE_36 | LL_EXTI_LINE_38)) );

  return;
}

void HAL_TIM_PeriodElapsedCallback(TIM_HandleTypeDef *htim) {
//	HAL_GPIO_TogglePin(LED2_GPIO_Port, LED2_Pin);

	if (Custom_Notification == 1) {
		// UTIL_SEQ_SetTask(1<<CFG_TASK_SW1_BUTTON_PUSHED_ID, CFG_SCH_PRIO_0);
		RunningState = 1;

		TimeReady = 1;
	}
	else {
		// Reset
		RunningState = 0;
		TimeReady = 0;
	}

}

// Interrupt when ADC completed conversion
void HAL_ADC_ConvCpltCallback(ADC_HandleTypeDef *hadc) {
	ADC_Read_Complete = 1;
}

/* USER CODE END 4 */

void Error_Handler(void)
{
  __disable_irq();
  while (1)
  {
  }
}

/************************ (C) COPYRIGHT STMicroelectronics *****END OF FILE****/
